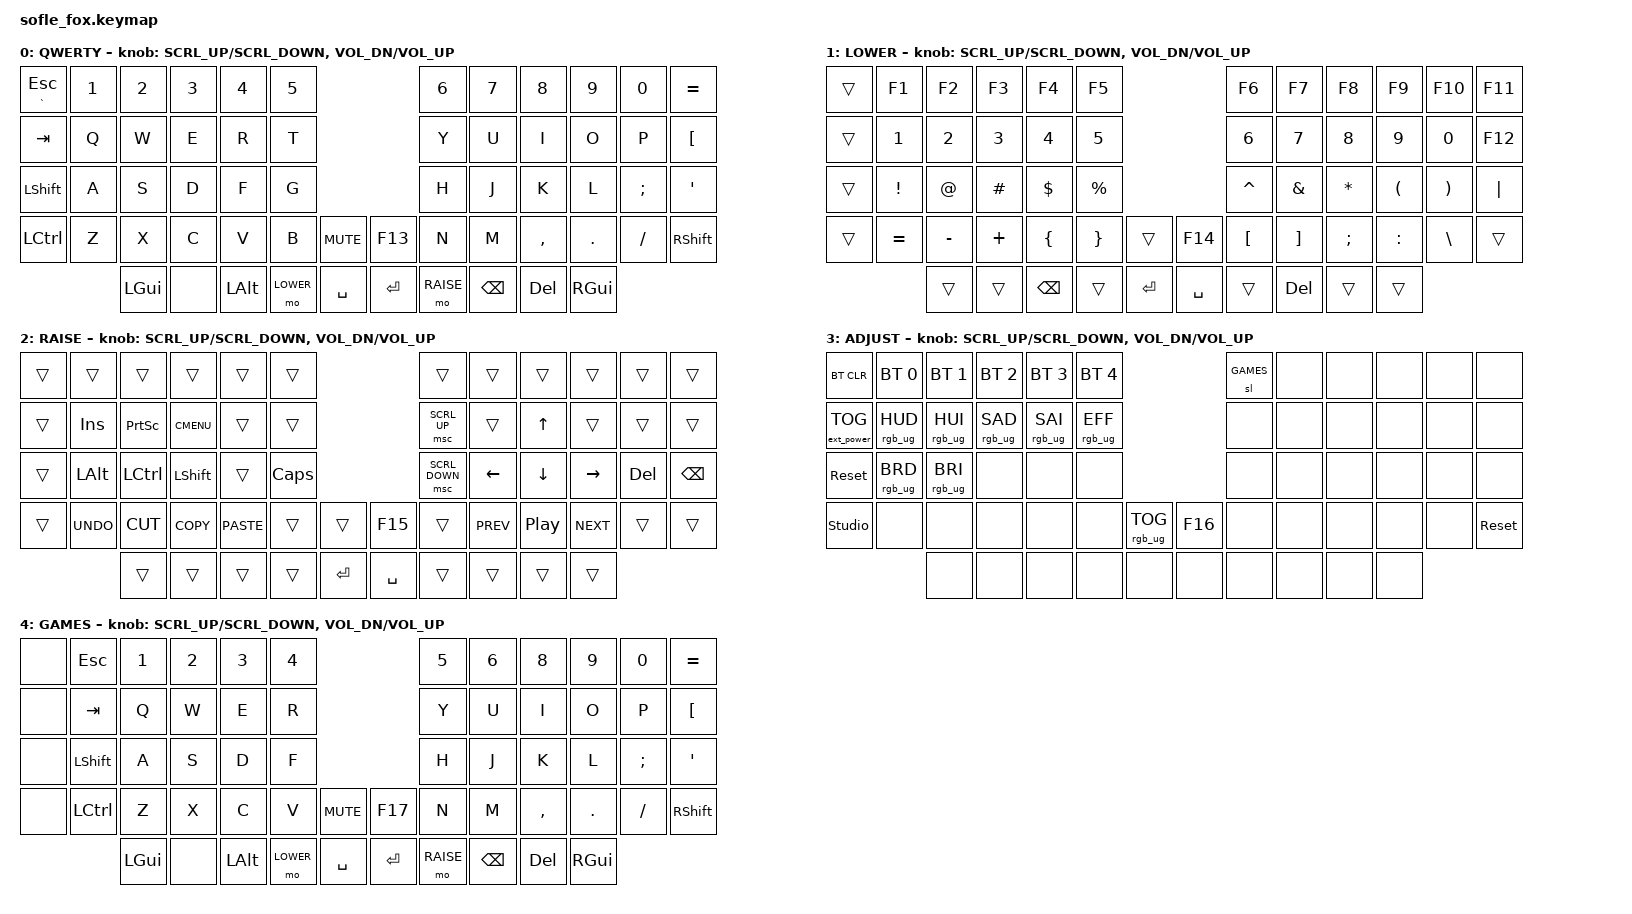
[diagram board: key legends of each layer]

#include <behaviors.dtsi>
#include <dt-bindings/zmk/keys.h>
#include <dt-bindings/zmk/bt.h>
#include <dt-bindings/zmk/rgb.h>
#include <dt-bindings/zmk/ext_power.h>
#include <dt-bindings/zmk/behaviors.h>

#define ZMK_POINTING_DEFAULT_SCRL_VAL 500
#include <dt-bindings/zmk/pointing.h>

#define BASE 0
#define LOWER 1
#define RAISE 2
#define ADJUST 3
#define GAMES 4

/ {

    behaviors {
        inc_dec_msc: inc_dec_msc {
            compatible = "zmk,behavior-sensor-rotate-var";
            #sensor-binding-cells = <2>;
            tap-ms = <50>;
            bindings = <&msc>, <&msc>;
        };
    };

   // Activate ADJUST layer by pressing raise and lower
    conditional_layers {
        compatible = "zmk,conditional-layers";
        adjust_layer {
            if-layers = <LOWER RAISE>;
            then-layer = <ADJUST>;
        };
    };


    keymap {
        compatible = "zmk,keymap";



        base_layer {
            display-name = "QWERTY";
            bindings = <
&mt GRAVE ESC &kp N1   &kp N2   &kp N3   &kp N4   &kp N5                             &kp N6    &kp N7   &kp N8    &kp N9   &kp N0   &kp EQUAL
&kp TAB       &kp Q    &kp W    &kp E    &kp R    &kp T                              &kp Y     &kp U    &kp I     &kp O    &kp P    &kp LBKT
&kp LSHFT     &kp A    &kp S    &kp D    &kp F    &kp G                              &kp H     &kp J    &kp K     &kp L    &kp SEMI &kp SQT
&kp LCTRL     &kp Z    &kp X    &kp C    &kp V    &kp B       &kp C_MUTE   &kp F13   &kp N     &kp M    &kp COMMA &kp DOT  &kp FSLH &kp RSHFT
                       &kp LGUI &none    &kp LALT &mo LOWER   &kp SPACE    &kp ENTER &mo RAISE &kp BSPC &kp DEL   &kp RGUI
            >;

            sensor-bindings = <&inc_dec_msc SCRL_UP SCRL_DOWN &inc_dec_kp C_VOL_DN C_VOL_UP>;
        };



        lower_layer {
            display-name = "LOWER";
            bindings = <
&trans &kp F1    &kp F2    &kp F3   &kp F4   &kp F5                          &kp F6    &kp F7   &kp F8    &kp F9    &kp F10   &kp F11
&trans &kp N1    &kp N2    &kp N3   &kp N4   &kp N5                          &kp N6    &kp N7   &kp N8    &kp N9    &kp N0    &kp F12
&trans &kp EXCL  &kp AT    &kp HASH &kp DLLR &kp PRCNT                       &kp CARET &kp AMPS &kp ASTRK &kp LPAR  &kp RPAR  &kp PIPE
&trans &kp EQUAL &kp MINUS &kp PLUS &kp LBRC &kp RBRC  &trans      &kp F14   &kp LBKT  &kp RBKT &kp SEMI  &kp COLON &kp BSLH  &trans
                 &trans    &trans   &kp BSPC &trans    &kp ENTER   &kp SPACE &trans    &kp DEL  &trans    &trans
            >;

            sensor-bindings = <&inc_dec_msc SCRL_UP SCRL_DOWN &inc_dec_kp C_VOL_DN C_VOL_UP>;
        };



        raise_layer {
            display-name = "RAISE";
            bindings = <
&trans &trans     &trans    &trans      &trans      &trans                      &trans         &trans     &trans   &trans     &trans  &trans
&trans &kp INS    &kp PSCRN &kp K_CMENU &trans      &trans                      &msc SCRL_UP   &trans     &kp UP   &trans     &trans  &trans
&trans &kp LALT   &kp LCTRL &kp LSHFT   &trans      &kp CLCK                    &msc SCRL_DOWN &kp LEFT   &kp DOWN &kp RIGHT  &kp DEL &kp BSPC
&trans &kp K_UNDO &kp K_CUT &kp K_COPY  &kp K_PASTE &trans   &trans   &kp F15   &trans         &kp C_PREV &kp C_PP &kp C_NEXT &trans  &trans
                            &trans      &trans      &trans    &trans   &kp ENTER &kp SPACE &trans         &trans     &trans   &trans
            >;

            sensor-bindings = <&inc_dec_msc SCRL_UP SCRL_DOWN &inc_dec_kp C_VOL_DN C_VOL_UP>;
        };



        adjust_layer {
            display-name = "ADJUST";
            bindings = <
&bt BT_CLR        &bt BT_SEL 0    &bt BT_SEL 1    &bt BT_SEL 2    &bt BT_SEL 3    &bt BT_SEL 4                              &sl GAMES &none &none &none &none &none
&ext_power EP_TOG &rgb_ug RGB_HUD &rgb_ug RGB_HUI &rgb_ug RGB_SAD &rgb_ug RGB_SAI &rgb_ug RGB_EFF                           &none     &none &none &none &none &none
&sys_reset        &rgb_ug RGB_BRD &rgb_ug RGB_BRI &none           &none           &none                                     &none     &none &none &none &none &none
&studio_unlock    &none           &none           &none           &none           &none           &rgb_ug RGB_TOG   &kp F16 &none     &none &none &none &none &sys_reset
                                  &none           &none           &none           &none           &none             &none   &none     &none &none &none
            >;

            sensor-bindings = <&inc_dec_msc SCRL_UP SCRL_DOWN &inc_dec_kp C_VOL_DN C_VOL_UP>;
        };



        games_layer {
            display-name = "GAMES";
            bindings = <
&none &kp ESC   &kp N1   &kp N2   &kp N3   &kp N4                           &kp N5    &kp N6   &kp N8    &kp N9   &kp N0   &kp EQUAL
&none &kp TAB   &kp Q    &kp W    &kp E    &kp R                            &kp Y     &kp U    &kp I     &kp O    &kp P    &kp LBKT
&none &kp LSHFT &kp A    &kp S    &kp D    &kp F                            &kp H     &kp J    &kp K     &kp L    &kp SEMI &kp SQT
&none &kp LCTRL &kp Z    &kp X    &kp C    &kp V     &kp C_MUTE   &kp F17   &kp N     &kp M    &kp COMMA &kp DOT  &kp FSLH &kp RSHFT
                &kp LGUI &none    &kp LALT &mo LOWER &kp SPACE    &kp ENTER &mo RAISE &kp BSPC &kp DEL   &kp RGUI
            >;

            sensor-bindings = <&inc_dec_msc SCRL_UP SCRL_DOWN &inc_dec_kp C_VOL_DN C_VOL_UP>;
        };
    };};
